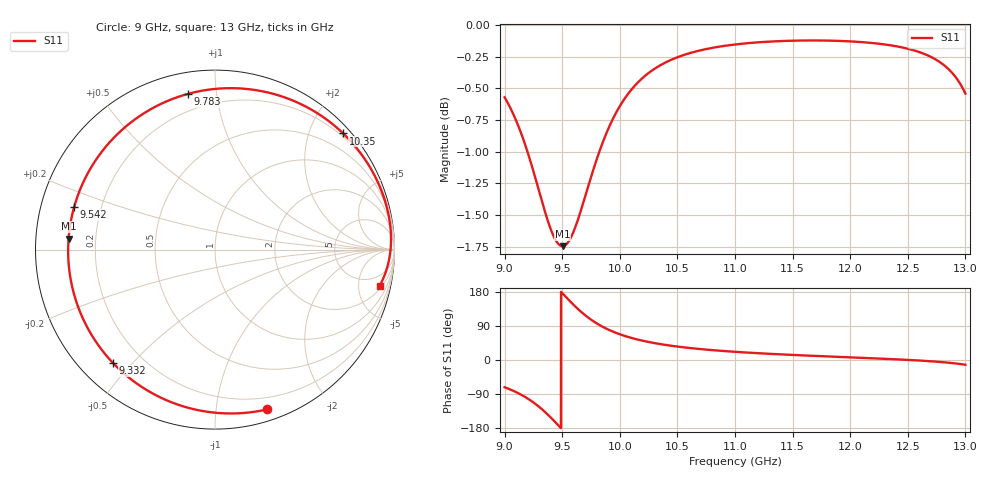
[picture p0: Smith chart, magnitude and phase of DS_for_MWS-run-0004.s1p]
! TOUCHSTONE file generated by CST DESIGN STUDIO
! Date and time: Tue Feb  4 18:12:20 2025
! Project name: C:\Work\MatlabApps\UnitCellOptimizationMatlab\CST\unitcell.cst
! Tree item: Tasks\Sweep1\SPara1\S-Parameters
! Header version: 2024
! Port assignment regex: !\s*Touchstone port\s*([0-9]+)\s*=\s*(CST MWS port|CST DES external port|CST DES block port)\s*(.+)\s* \(\"(.*)\"\)(\s*mode\s*([0-9]+))?.*
! Touchstone port assignment:
! Touchstone port 1 = CST DES external port 1 ("")
# GHz S MA R 50
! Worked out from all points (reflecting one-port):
!   4001 points, 9 GHz to 13 GHz, reference 50 ohm
!   lowest |S11| = -1.7 dB at 9.503 GHz (marker M1), VSWR 9.99, Z = 5.01 + j1.87 ohm
!   phase of S11 starts at -72 deg and turns -301 deg over the sweep
!   S11 on the Smith chart (normalised r, x): 9 GHz: 0.09, -1.37; 9.332 GHz: 0.10, -0.44; 9.542 GHz: 0.10, +0.15; 9.783 GHz: 0.11, +0.84; 10.35 GHz: 0.14, +2.59; 13 GHz: 2.43, -8.43
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9  0.9364 -72.0
9.087  0.9197 -82.9
9.191  0.8935 -99.9
9.264  0.8712 -115.1
9.332  0.8496 -132.0
9.376  0.8369 -144.4
9.422  0.8262 -158.3
9.462  0.8202 -171.0
9.5  0.8181 176.6
9.503  0.8181 175.7
9.542  0.82 163.1
9.605  0.8303 143.6
9.662  0.8449 127.6
9.72  0.862 113.2
9.783  0.8806 99.8
9.877  0.9049 83.7
10  0.9289 67.9
10.075  0.9398 60.5
10.157  0.9491 53.8
10.347  0.9638 42.2
10.5  0.9711 35.4
10.722  0.9777 28.2
11  0.9824 21.6
11.5  0.9858 13.4
12  0.9852 7.0
12.5  0.9786 0.3
12.783  0.9665 -5.2
13  0.9396 -12.5
